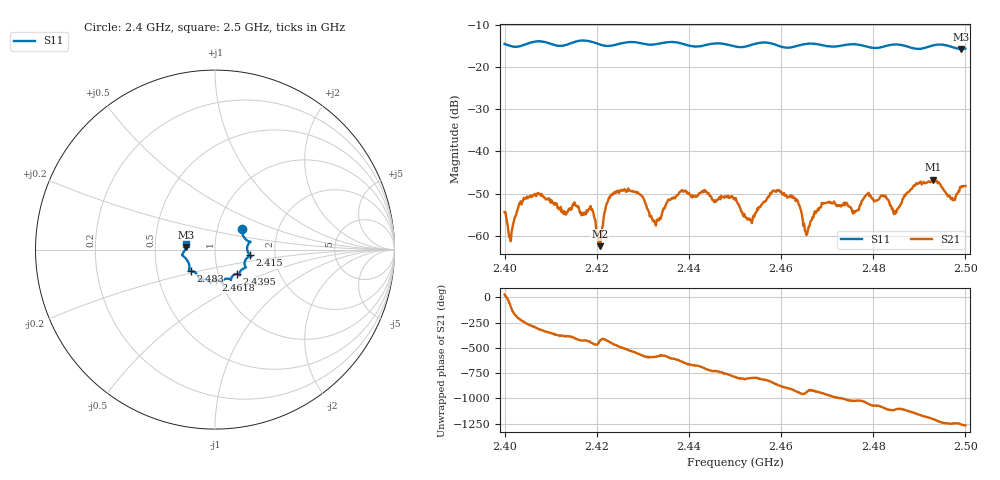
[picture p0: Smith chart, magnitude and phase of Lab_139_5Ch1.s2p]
# Hz S RI R 50
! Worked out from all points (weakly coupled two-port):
!   601 points, 2.4 GHz to 2.5 GHz, reference 50 ohm
!   highest |S21| = -46.68 dB at 2.493 GHz (marker M1); lowest = -62.5 dB at 2.4207 GHz (marker M2)
!   lowest |S11| = -15.7 dB at 2.499 GHz (marker M3), VSWR 1.39, Z = 35.9 + j1.12 ohm
!   |S11| at or under -10 dB: start of sweep to end of sweep
!   S12 and S22 are empty: the file has one direction only
!   S11 on the Smith chart (normalised r, x): 2.4 GHz: 1.31, +0.31; 2.415 GHz: 1.48, -0.10; 2.4395 GHz: 1.23, -0.34; 2.4618 GHz: 0.95, -0.33; 2.483 GHz: 0.74, -0.18; 2.5 GHz: 0.72, +0.05
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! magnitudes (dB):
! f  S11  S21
! 2.4 GHz  -14.5  -54.4
! 2.4012 GHz  -14.9  -60.1
! 2.4047 GHz  -14.5  -51.2
! 2.415 GHz  -14.1  -52.8
! 2.4167 GHz  -13.7  -55.2
! 2.4188 GHz  -14.0  -53.9
! 2.4207 GHz  -14.6  -62.5
! 2.4222 GHz  -15.0  -52.4
! 2.4242 GHz  -14.7  -49.5
! 2.4333 GHz  -14.4  -56.1
! 2.4395 GHz  -14.7  -49.8
! 2.45 GHz  -15.1  -51.5
! 2.4532 GHz  -14.8  -56.3
! 2.4582 GHz  -14.4  -49.4
! 2.4618 GHz  -15.3  -50.8
! 2.4653 GHz  -14.5  -59.1
! 2.4667 GHz  -14.4  -56.2
! 2.483 GHz  -14.9  -51.2
! 2.4833 GHz  -14.8  -51.6
! 2.493 GHz  -14.8  -46.7
! 2.499 GHz  -15.7  -48.6
! 2.5 GHz  -15.6  -48.2
